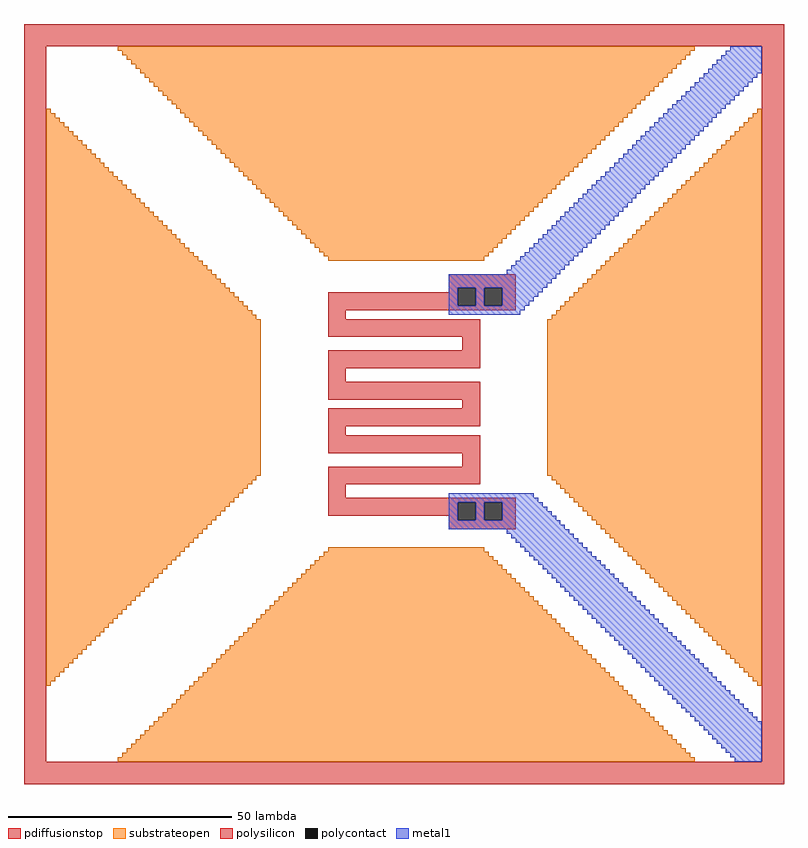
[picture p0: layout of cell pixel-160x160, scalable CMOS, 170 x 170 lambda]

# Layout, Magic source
magic
tech scmos
<< polysilicon >>
rect 383 99 398 102
rect 383 98 385 99
rect 356 95 385 98
rect 389 95 391 99
rect 395 95 398 99
rect 356 94 398 95
rect 356 92 360 94
rect 356 88 390 92
rect 386 85 390 88
rect 356 81 390 85
rect 356 78 360 81
rect 356 74 390 78
rect 386 72 390 74
rect 356 68 390 72
rect 356 66 360 68
rect 356 62 390 66
rect 386 59 390 62
rect 356 55 390 59
rect 356 52 360 55
rect 356 51 398 52
rect 356 48 385 51
rect 383 47 385 48
rect 389 47 391 51
rect 395 47 398 51
rect 383 45 398 47
<< metal1 >>
rect 446 152 453 153
rect 445 151 453 152
rect 444 150 453 151
rect 443 149 453 150
rect 442 148 453 149
rect 441 147 453 148
rect 440 146 452 147
rect 439 145 451 146
rect 438 144 450 145
rect 437 143 449 144
rect 436 142 448 143
rect 435 141 447 142
rect 434 140 446 141
rect 433 139 445 140
rect 432 138 444 139
rect 431 137 443 138
rect 430 136 442 137
rect 429 135 441 136
rect 428 134 440 135
rect 427 133 439 134
rect 426 132 438 133
rect 425 131 437 132
rect 424 130 436 131
rect 423 129 435 130
rect 422 128 434 129
rect 421 127 433 128
rect 420 126 432 127
rect 419 125 431 126
rect 418 124 430 125
rect 417 123 429 124
rect 416 122 428 123
rect 415 121 427 122
rect 414 120 426 121
rect 413 119 425 120
rect 412 118 424 119
rect 411 117 423 118
rect 410 116 422 117
rect 409 115 421 116
rect 408 114 420 115
rect 407 113 419 114
rect 406 112 418 113
rect 405 111 417 112
rect 404 110 416 111
rect 403 109 415 110
rect 402 108 414 109
rect 401 107 413 108
rect 400 106 412 107
rect 399 105 411 106
rect 398 104 410 105
rect 397 103 409 104
rect 396 102 408 103
rect 383 101 407 102
rect 383 100 406 101
rect 383 99 405 100
rect 383 95 385 99
rect 389 95 391 99
rect 395 98 404 99
rect 395 97 403 98
rect 395 96 402 97
rect 395 95 401 96
rect 383 94 400 95
rect 383 93 399 94
rect 383 52 402 53
rect 383 51 403 52
rect 383 47 385 51
rect 389 47 391 51
rect 395 50 404 51
rect 395 49 405 50
rect 395 48 406 49
rect 395 47 407 48
rect 383 46 408 47
rect 383 45 409 46
rect 396 44 410 45
rect 397 43 411 44
rect 398 42 412 43
rect 399 41 413 42
rect 400 40 414 41
rect 401 39 415 40
rect 402 38 416 39
rect 403 37 417 38
rect 404 36 418 37
rect 405 35 419 36
rect 406 34 420 35
rect 407 33 421 34
rect 408 32 422 33
rect 409 31 423 32
rect 410 30 424 31
rect 411 29 425 30
rect 412 28 426 29
rect 413 27 427 28
rect 414 26 428 27
rect 415 25 429 26
rect 416 24 430 25
rect 417 23 431 24
rect 418 22 432 23
rect 419 21 433 22
rect 420 20 434 21
rect 421 19 435 20
rect 422 18 436 19
rect 423 17 437 18
rect 424 16 438 17
rect 425 15 439 16
rect 426 14 440 15
rect 427 13 441 14
rect 428 12 442 13
rect 429 11 443 12
rect 430 10 444 11
rect 431 9 445 10
rect 432 8 446 9
rect 433 7 447 8
rect 434 6 448 7
rect 435 5 449 6
rect 436 4 450 5
rect 437 3 451 4
rect 438 2 452 3
rect 439 1 453 2
rect 440 0 453 1
rect 441 -1 453 0
rect 442 -2 453 -1
rect 443 -3 453 -2
rect 444 -4 453 -3
rect 445 -5 453 -4
rect 446 -6 453 -5
rect 447 -7 453 -6
<< polycontact >>
rect 385 95 389 99
rect 391 95 395 99
rect 385 47 389 51
rect 391 47 395 51
<< substrateopen >>
rect 309 152 438 153
rect 310 151 437 152
rect 311 150 436 151
rect 312 149 435 150
rect 313 148 434 149
rect 314 147 433 148
rect 315 146 432 147
rect 316 145 431 146
rect 317 144 430 145
rect 318 143 429 144
rect 319 142 428 143
rect 320 141 427 142
rect 321 140 426 141
rect 322 139 425 140
rect 293 138 294 139
rect 323 138 424 139
rect 452 138 453 139
rect 293 137 295 138
rect 324 137 423 138
rect 451 137 453 138
rect 293 136 296 137
rect 325 136 422 137
rect 450 136 453 137
rect 293 135 297 136
rect 326 135 421 136
rect 449 135 453 136
rect 293 134 298 135
rect 327 134 420 135
rect 448 134 453 135
rect 293 133 299 134
rect 328 133 419 134
rect 447 133 453 134
rect 293 132 300 133
rect 329 132 418 133
rect 446 132 453 133
rect 293 131 301 132
rect 330 131 417 132
rect 445 131 453 132
rect 293 130 302 131
rect 331 130 416 131
rect 444 130 453 131
rect 293 129 303 130
rect 332 129 415 130
rect 443 129 453 130
rect 293 128 304 129
rect 333 128 414 129
rect 442 128 453 129
rect 293 127 305 128
rect 334 127 413 128
rect 441 127 453 128
rect 293 126 306 127
rect 335 126 412 127
rect 440 126 453 127
rect 293 125 307 126
rect 336 125 411 126
rect 439 125 453 126
rect 293 124 308 125
rect 337 124 410 125
rect 438 124 453 125
rect 293 123 309 124
rect 338 123 409 124
rect 437 123 453 124
rect 293 122 310 123
rect 339 122 408 123
rect 436 122 453 123
rect 293 121 311 122
rect 340 121 407 122
rect 435 121 453 122
rect 293 120 312 121
rect 341 120 406 121
rect 434 120 453 121
rect 293 119 313 120
rect 342 119 405 120
rect 433 119 453 120
rect 293 118 314 119
rect 343 118 404 119
rect 432 118 453 119
rect 293 117 315 118
rect 344 117 403 118
rect 431 117 453 118
rect 293 116 316 117
rect 345 116 402 117
rect 430 116 453 117
rect 293 115 317 116
rect 346 115 401 116
rect 429 115 453 116
rect 293 114 318 115
rect 347 114 400 115
rect 428 114 453 115
rect 293 113 319 114
rect 348 113 399 114
rect 427 113 453 114
rect 293 112 320 113
rect 349 112 398 113
rect 426 112 453 113
rect 293 111 321 112
rect 350 111 397 112
rect 425 111 453 112
rect 293 110 322 111
rect 351 110 396 111
rect 424 110 453 111
rect 293 109 323 110
rect 352 109 395 110
rect 423 109 453 110
rect 293 108 324 109
rect 353 108 394 109
rect 422 108 453 109
rect 293 107 325 108
rect 354 107 393 108
rect 421 107 453 108
rect 293 106 326 107
rect 355 106 392 107
rect 420 106 453 107
rect 293 105 327 106
rect 356 105 391 106
rect 419 105 453 106
rect 293 104 328 105
rect 418 104 453 105
rect 293 103 329 104
rect 417 103 453 104
rect 293 102 330 103
rect 416 102 453 103
rect 293 101 331 102
rect 415 101 453 102
rect 293 100 332 101
rect 414 100 453 101
rect 293 99 333 100
rect 413 99 453 100
rect 293 98 334 99
rect 412 98 453 99
rect 293 97 335 98
rect 411 97 453 98
rect 293 96 336 97
rect 410 96 453 97
rect 293 95 337 96
rect 409 95 453 96
rect 293 94 338 95
rect 408 94 453 95
rect 293 93 339 94
rect 407 93 453 94
rect 293 92 340 93
rect 406 92 453 93
rect 293 57 341 92
rect 405 57 453 92
rect 293 56 340 57
rect 406 56 453 57
rect 293 55 339 56
rect 407 55 453 56
rect 293 54 338 55
rect 408 54 453 55
rect 293 53 337 54
rect 409 53 453 54
rect 293 52 336 53
rect 410 52 453 53
rect 293 51 335 52
rect 411 51 453 52
rect 293 50 334 51
rect 412 50 453 51
rect 293 49 333 50
rect 413 49 453 50
rect 293 48 332 49
rect 414 48 453 49
rect 293 47 331 48
rect 415 47 453 48
rect 293 46 330 47
rect 416 46 453 47
rect 293 45 329 46
rect 417 45 453 46
rect 293 44 328 45
rect 418 44 453 45
rect 293 43 327 44
rect 419 43 453 44
rect 293 42 326 43
rect 420 42 453 43
rect 293 41 325 42
rect 421 41 453 42
rect 293 40 324 41
rect 356 40 391 41
rect 422 40 453 41
rect 293 39 323 40
rect 355 39 392 40
rect 423 39 453 40
rect 293 38 322 39
rect 354 38 393 39
rect 424 38 453 39
rect 293 37 321 38
rect 353 37 394 38
rect 425 37 453 38
rect 293 36 320 37
rect 352 36 395 37
rect 426 36 453 37
rect 293 35 319 36
rect 351 35 396 36
rect 427 35 453 36
rect 293 34 318 35
rect 350 34 397 35
rect 428 34 453 35
rect 293 33 317 34
rect 349 33 398 34
rect 429 33 453 34
rect 293 32 316 33
rect 348 32 399 33
rect 430 32 453 33
rect 293 31 315 32
rect 347 31 400 32
rect 431 31 453 32
rect 293 30 314 31
rect 346 30 401 31
rect 432 30 453 31
rect 293 29 313 30
rect 345 29 402 30
rect 433 29 453 30
rect 293 28 312 29
rect 344 28 403 29
rect 434 28 453 29
rect 293 27 311 28
rect 343 27 404 28
rect 435 27 453 28
rect 293 26 310 27
rect 342 26 405 27
rect 436 26 453 27
rect 293 25 309 26
rect 341 25 406 26
rect 437 25 453 26
rect 293 24 308 25
rect 340 24 407 25
rect 438 24 453 25
rect 293 23 307 24
rect 339 23 408 24
rect 439 23 453 24
rect 293 22 306 23
rect 338 22 409 23
rect 440 22 453 23
rect 293 21 305 22
rect 337 21 410 22
rect 441 21 453 22
rect 293 20 304 21
rect 336 20 411 21
rect 442 20 453 21
rect 293 19 303 20
rect 335 19 412 20
rect 443 19 453 20
rect 293 18 302 19
rect 334 18 413 19
rect 444 18 453 19
rect 293 17 301 18
rect 333 17 414 18
rect 445 17 453 18
rect 293 16 300 17
rect 332 16 415 17
rect 446 16 453 17
rect 293 15 299 16
rect 331 15 416 16
rect 447 15 453 16
rect 293 14 298 15
rect 330 14 417 15
rect 448 14 453 15
rect 293 13 297 14
rect 329 13 418 14
rect 449 13 453 14
rect 293 12 296 13
rect 328 12 419 13
rect 450 12 453 13
rect 293 11 295 12
rect 327 11 420 12
rect 451 11 453 12
rect 293 10 294 11
rect 326 10 421 11
rect 452 10 453 11
rect 325 9 422 10
rect 324 8 423 9
rect 323 7 424 8
rect 322 6 425 7
rect 321 5 426 6
rect 320 4 427 5
rect 319 3 428 4
rect 318 2 429 3
rect 317 1 430 2
rect 316 0 431 1
rect 315 -1 432 0
rect 314 -2 433 -1
rect 313 -3 434 -2
rect 312 -4 435 -3
rect 311 -5 436 -4
rect 310 -6 437 -5
rect 309 -7 438 -6
<< pdiffusionstop >>
rect 288 153 458 158
rect 288 -7 293 153
rect 453 -7 458 153
rect 288 -12 458 -7
<< end >>
